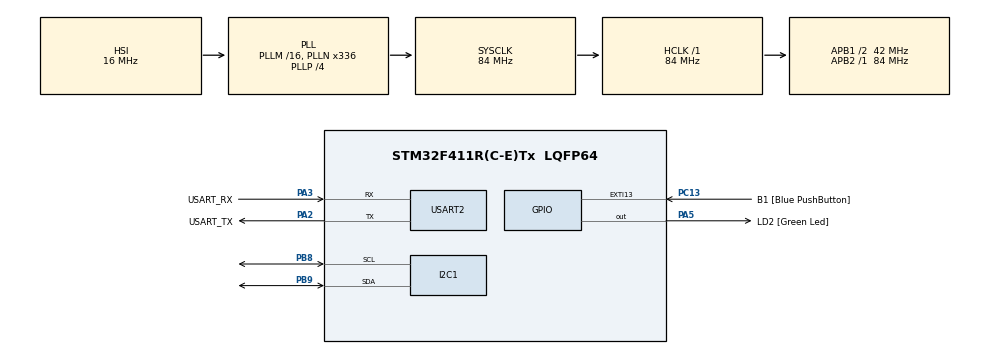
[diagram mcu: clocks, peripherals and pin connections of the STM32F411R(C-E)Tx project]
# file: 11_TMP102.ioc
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Mcu.Family=STM32F4
Mcu.Name=STM32F411R(C-E)Tx
Mcu.Package=LQFP64
NVIC.PriorityGroup=NVIC_PRIORITYGROUP_0
PA13.GPIO_Label=TMS
PA13.Mode=Serial_Wire
PA13.Signal=SYS_JTMS-SWDIO
PA14.GPIO_Label=TCK
PA14.Mode=Serial_Wire
PA14.Signal=SYS_JTCK-SWCLK
PA2.GPIO_Label=USART_TX
PA2.Mode=Asynchronous
PA2.Signal=USART2_TX
PA3.GPIO_Label=USART_RX
PA3.Mode=Asynchronous
PA3.Signal=USART2_RX
PA5.GPIO_Label=LD2 [Green Led]
PA5.Signal=GPIO_Output
PB3.GPIO_Label=SWO
PB3.Signal=SYS_JTDO-SWO
PB8.Mode=I2C
PB8.Signal=I2C1_SCL
PB9.Mode=I2C
PB9.Signal=I2C1_SDA
PC13-ANTI_TAMP.GPIO_Label=B1 [Blue PushButton]
PC13-ANTI_TAMP.GPIO_ModeDefaultEXTI=GPIO_MODE_IT_FALLING
PC13-ANTI_TAMP.Signal=GPXTI13
PC14-OSC32_IN.Mode=LSE-External-Oscillator
PC14-OSC32_IN.Signal=RCC_OSC32_IN
PC15-OSC32_OUT.Mode=LSE-External-Oscillator
PC15-OSC32_OUT.Signal=RCC_OSC32_OUT
PH0\ -\ OSC_IN.Mode=HSE-External-Clock-Source
PH0\ -\ OSC_IN.Signal=RCC_OSC_IN
PH1\ -\ OSC_OUT.Mode=HSE-External-Clock-Source
PH1\ -\ OSC_OUT.Signal=RCC_OSC_OUT
ProjectManager.HeapSize=0x200
ProjectManager.StackSize=0x400
ProjectManager.TargetToolchain=STM32CubeIDE
RCC.48MHZClocksFreq_Value=84000000
RCC.AHBFreq_Value=84000000
RCC.APB1CLKDivider=RCC_HCLK_DIV2
RCC.APB1Freq_Value=42000000
RCC.APB1TimFreq_Value=84000000
RCC.APB2Freq_Value=84000000
RCC.APB2TimFreq_Value=84000000
RCC.CortexFreq_Value=84000000
RCC.FLatency-AdvancedSettings=FLASH_LATENCY_2
RCC.HCLKFreq_Value=84000000
RCC.HSE_VALUE=8000000
RCC.HSI_VALUE=16000000
RCC.PLLN=336
RCC.PLLP=RCC_PLLP_DIV4
RCC.SYSCLKFreq_VALUE=84000000
RCC.SYSCLKSource=RCC_SYSCLKSOURCE_PLLCLK
RCC.VCOOutputFreq_Value=336000000
USART2.VirtualMode=VM_ASYNC
board=NUCLEO-F411RE

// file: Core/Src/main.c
/* USER CODE BEGIN Header */
/**
  ******************************************************************************
  * @file           : main.c
  * @brief          : Main program body
  ******************************************************************************
  * @attention
  *
  * Copyright (c) 2022 STMicroelectronics.
  * All rights reserved.
  *
  * This software is licensed under terms that can be found in the LICENSE file
  * in the root directory of this software component.
  * If no LICENSE file comes with this software, it is provided AS-IS.
  *
  ******************************************************************************
  */
/* USER CODE END Header */
#include "main.h"

/* USER CODE BEGIN Includes */
#include <string.h>
#include <stdio.h>
/* USER CODE END Includes */

I2C_HandleTypeDef hi2c1;

UART_HandleTypeDef huart2;

/* USER CODE BEGIN PV */
static const uint8_t TMP102_ADDR = 0x48 << 1; //Use 8-bit, we need 7-bit
// 0100 1000 -> 1001 0000
static const uint8_t REG_TEMP = 0x00;
/* USER CODE END PV */

void SystemClock_Config(void);
static void MX_GPIO_Init(void);
static void MX_USART2_UART_Init(void);
static void MX_I2C1_Init(void);

int main(void)
{
  /* USER CODE BEGIN 1 */
	HAL_StatusTypeDef ret; // Enum that gives us return values from communication functions
  uint8_t buf[12];
  int16_t val;
  float temp_c;
  /* USER CODE END 1 */

  /* MCU Configuration--------------------------------------------------------*/

  /* Reset of all peripherals, Initializes the Flash interface and the Systick. */
  HAL_Init();

  /* Configure the system clock */
  SystemClock_Config();

  /* Initialize all configured peripherals */
  MX_GPIO_Init();
  MX_USART2_UART_Init();
  MX_I2C1_Init();

  /* Infinite loop */
  /* USER CODE BEGIN WHILE */
  while (1)
  {
	// Tell TMP102 that we want to read from temp register
	buf[0] = REG_TEMP;
	ret = HAL_I2C_Master_Transmit(&hi2c1, TMP102_ADDR, buf, 1, HAL_MAX_DELAY); //last bit zero: wanna write data
	if (ret != HAL_OK) {
		strcpy((char*)buf, "Error Tx\r\n");
	}
	else {
		// Read 2 bytes from temp register
		ret = HAL_I2C_Master_Receive(&hi2c1, TMP102_ADDR, buf, 2, HAL_MAX_DELAY); //last bit zero - we wanna read data
		if (ret != HAL_OK) {
			strcpy((char*)buf, "Error Rx\r\n");
		}
		else {
			// Combine the bytes
			val = ((int16_t)buf[0]<<4) | (buf[1] >> 4);
			// 0100 >> 1 = 0010

			// buf[0] 1111 1010 << 4 = 1111 1010 0000
			// buf[1] 1111 0000 >> 4 = 0000 0000 1111
			// Convert to 2's complement, since temperature can be negative
			if ( val > 0x7FF ) //aka if is negative
			{
				val |= 0xF000; // we put add 1111 infront so its read as negative values (2's complient)
			}
			// Convert to float temp value in Celsius
			temp_c = val * 0.0625;

			// Convert temp to decimal format
			temp_c *= 100;
			sprintf((char*)buf, "%u.%02u C\r\n", ((unsigned int)temp_c / 100), ((unsigned int)temp_c % 100));
		}
	}

	// strcpy((char*)buf, "Hello!\r\n");
	// Send out buffer (tmp or error msg)
	HAL_UART_Transmit(&huart2, buf, strlen((char*)buf), HAL_MAX_DELAY);

	// Wait
	HAL_Delay(500);
    /* USER CODE END WHILE */

  }
}

void SystemClock_Config(void)
{
  RCC_OscInitTypeDef RCC_OscInitStruct = {0};
  RCC_ClkInitTypeDef RCC_ClkInitStruct = {0};

  /** Configure the main internal regulator output voltage
  */
  __HAL_RCC_PWR_CLK_ENABLE();
  __HAL_PWR_VOLTAGESCALING_CONFIG(PWR_REGULATOR_VOLTAGE_SCALE1);
  /** Initializes the RCC Oscillators according to the specified parameters
  * in the RCC_OscInitTypeDef structure.
  */
  RCC_OscInitStruct.OscillatorType = RCC_OSCILLATORTYPE_HSI;
  RCC_OscInitStruct.HSIState = RCC_HSI_ON;
  RCC_OscInitStruct.HSICalibrationValue = RCC_HSICALIBRATION_DEFAULT;
  RCC_OscInitStruct.PLL.PLLState = RCC_PLL_ON;
  RCC_OscInitStruct.PLL.PLLSource = RCC_PLLSOURCE_HSI;
  RCC_OscInitStruct.PLL.PLLM = 16;
  RCC_OscInitStruct.PLL.PLLN = 336;
  RCC_OscInitStruct.PLL.PLLP = RCC_PLLP_DIV4;
  RCC_OscInitStruct.PLL.PLLQ = 4;
  if (HAL_RCC_OscConfig(&RCC_OscInitStruct) != HAL_OK)
  {
    Error_Handler();
  }
  /** Initializes the CPU, AHB and APB buses clocks
  */
  RCC_ClkInitStruct.ClockType = RCC_CLOCKTYPE_HCLK|RCC_CLOCKTYPE_SYSCLK
                              |RCC_CLOCKTYPE_PCLK1|RCC_CLOCKTYPE_PCLK2;
  RCC_ClkInitStruct.SYSCLKSource = RCC_SYSCLKSOURCE_PLLCLK;
  RCC_ClkInitStruct.AHBCLKDivider = RCC_SYSCLK_DIV1;
  RCC_ClkInitStruct.APB1CLKDivider = RCC_HCLK_DIV2;
  RCC_ClkInitStruct.APB2CLKDivider = RCC_HCLK_DIV1;

  if (HAL_RCC_ClockConfig(&RCC_ClkInitStruct, FLASH_LATENCY_2) != HAL_OK)
  {
    Error_Handler();
  }
}

static void MX_I2C1_Init(void)
{

  hi2c1.Instance = I2C1;
  hi2c1.Init.ClockSpeed = 100000;
  hi2c1.Init.DutyCycle = I2C_DUTYCYCLE_2;
  hi2c1.Init.OwnAddress1 = 0;
  hi2c1.Init.AddressingMode = I2C_ADDRESSINGMODE_7BIT;
  hi2c1.Init.DualAddressMode = I2C_DUALADDRESS_DISABLE;
  hi2c1.Init.OwnAddress2 = 0;
  hi2c1.Init.GeneralCallMode = I2C_GENERALCALL_DISABLE;
  hi2c1.Init.NoStretchMode = I2C_NOSTRETCH_DISABLE;
  if (HAL_I2C_Init(&hi2c1) != HAL_OK)
  {
    Error_Handler();
  }

}

static void MX_USART2_UART_Init(void)
{

  huart2.Instance = USART2;
  huart2.Init.BaudRate = 115200;
  huart2.Init.WordLength = UART_WORDLENGTH_8B;
  huart2.Init.StopBits = UART_STOPBITS_1;
  huart2.Init.Parity = UART_PARITY_NONE;
  huart2.Init.Mode = UART_MODE_TX_RX;
  huart2.Init.HwFlowCtl = UART_HWCONTROL_NONE;
  huart2.Init.OverSampling = UART_OVERSAMPLING_16;
  if (HAL_UART_Init(&huart2) != HAL_OK)
  {
    Error_Handler();
  }

}

static void MX_GPIO_Init(void)
{
  GPIO_InitTypeDef GPIO_InitStruct = {0};

  /* GPIO Ports Clock Enable */
  __HAL_RCC_GPIOC_CLK_ENABLE();
  __HAL_RCC_GPIOH_CLK_ENABLE();
  __HAL_RCC_GPIOA_CLK_ENABLE();
  __HAL_RCC_GPIOB_CLK_ENABLE();

  /*Configure GPIO pin Output Level */
  HAL_GPIO_WritePin(LD2_GPIO_Port, LD2_Pin, GPIO_PIN_RESET);

  /*Configure GPIO pin : B1_Pin */
  GPIO_InitStruct.Pin = B1_Pin;
  GPIO_InitStruct.Mode = GPIO_MODE_IT_FALLING;
  GPIO_InitStruct.Pull = GPIO_NOPULL;
  HAL_GPIO_Init(B1_GPIO_Port, &GPIO_InitStruct);

  /*Configure GPIO pin : LD2_Pin */
  GPIO_InitStruct.Pin = LD2_Pin;
  GPIO_InitStruct.Mode = GPIO_MODE_OUTPUT_PP;
  GPIO_InitStruct.Pull = GPIO_NOPULL;
  GPIO_InitStruct.Speed = GPIO_SPEED_FREQ_LOW;
  HAL_GPIO_Init(LD2_GPIO_Port, &GPIO_InitStruct);

}

void Error_Handler(void)
{
  __disable_irq();
  while (1)
  {
  }
}
